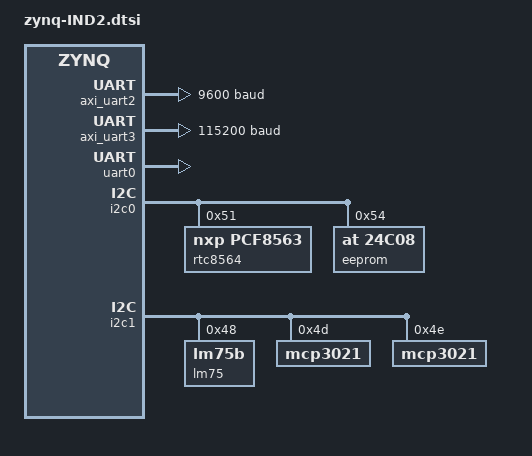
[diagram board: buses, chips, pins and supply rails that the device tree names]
/*
** Enable second PS uart, which enumerates to /dev/ttyPS1.
*/

/ {
    /*interrupt-parent = <&intc>;*/

    aliases: aliases {
        serial1 = &uart0;
    };
};

&uart0 {
    status = "okay";
};

/*
** IND2 base board has 1 RTC, 1 EEPROM devices an I2C bus 0.
*/

&i2c0 {
    status = "okay";

    rtc8564@51 {
        compatible = "nxp,pcf8563";
        reg = <0x51>;
        status = "okay";
    };

    eeprom@54 {
        compatible = "at,24c08";
        reg = <0x54>;
        status = "okay";
    };
};

/*
** IND2 RF board has 1 Temperature Sensor, 2 ADCs on I2C bus 1.
*/

&i2c1 {
    status = "okay";

    lm75@48 {
        compatible = "lm75b";
        reg = <0x48>;
        status = "okay";
    };

    mcp3021@4d {
        compatible = "mcp3021";
        reg = <0x4d>;
        status = "okay";
    };

    mcp3021@4e {
        compatible = "mcp3021";
        reg = <0x4e>;
        status = "okay";
    };
};

/*
**  Configure IND FGPA peripherals.
*/

/ {
	fpga_axi: fpga-axi@0 {
		compatible = "simple-bus";
		#address-cells = <0x1>;
		#size-cells = <0x1>;
		ranges;


		axi4_IND_controller_0: axi4_IND_controller@43c00000 {
			compatible = "kutu,axi4-IND-controller-1.00-a";
		   reg = <0x43c00000 0x10000>;
			#clock-cells = <0>;
			clocks = <&clkc 16>;
		   interrupt-parent = <&intc>;
			interrupts = <0 59 4>;
		   xlnx,dphase-timeout = <0x8>;
			xlnx,s-axi-min-size = <0x00003FFF>;
		   xlnx,slv-awidth = <0x20>;
		   xlnx,slv-dwidth = <0x20>;
			xlnx,sys-addr-width = <0xe>;
		   xlnx,use-wstrb = <0x0>;
	   };

      axi_uart2: axi_uart0: serial@43c10000 {
			clock-frequency = <100000000>;
			compatible = "xlnx,axi-uart16550-1.01.a", "xlnx,xps-uart16550-2.00.a", "ns16550";
			current-speed = <9600>;
			device_type = "serial";
			interrupt-parent = <&intc>;
			interrupts = < 0 58 4>;
			reg = < 0x43c10000 0x10000 >;
			reg-offset = <0x1000>;
			reg-shift = <2>;
			xlnx,external-xin-clk-hz = <0x5F5E100>;
			xlnx,family = "zynq";
			xlnx,has-external-rclk = <0x0>;
			xlnx,has-external-xin = <0x0>;
			xlnx,is-a-16550 = <0x1>;
			xlnx,s-axi-aclk-freq-hz = <0x5F5E100>;
			xlnx,use-modem-ports = <0x0>;
			xlnx,use-user-ports = <0x0>;
		};

      axi_uart3: axi_uart1: serial@43c20000 {
			clock-frequency = <100000000>;
			compatible = "xlnx,axi-uart16550-1.01.a", "xlnx,xps-uart16550-2.00.a", "ns16550";
			current-speed = <115200>;
			device_type = "serial";
			interrupt-parent = <&intc>;
			interrupts = < 0 57 4>;
			reg = < 0x43c20000 0x10000 >;
			reg-offset = <0x1000>;
			reg-shift = <2>;
			xlnx,external-xin-clk-hz = <0x5F5E100>;
			xlnx,family = "zynq";
			xlnx,has-external-rclk = <0x0>;
			xlnx,has-external-xin = <0x0>;
			xlnx,is-a-16550 = <0x1>;
			xlnx,s-axi-aclk-freq-hz = <0x5F5E100>;
			xlnx,use-modem-ports = <0x0>;
			xlnx,use-user-ports = <0x0>;
		};
   };
};

